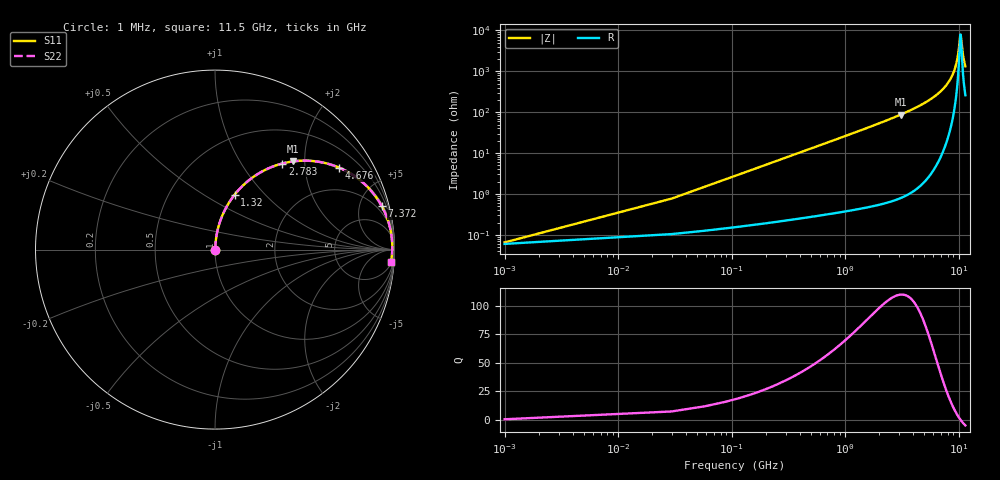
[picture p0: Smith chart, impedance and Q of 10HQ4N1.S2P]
! Coilcraft 1008HQ-4N1 Chip Inductor
! 10 July 2002
# MHZ S MA R 50
!Freq  MagS11  AngS11  MagS21  AngS21  MagS12  AngS12  MagS22  AngS22
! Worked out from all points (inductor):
!   402 points, 1 MHz to 11.5 GHz, reference 50 ohm
!   read as one part in series: L = 4.1 nH near 58.36 MHz
!   highest Q = 110 at 3.098 GHz (marker M1), where L = 4.5 nH
!   self-resonance near 10.41 GHz
!   S11 on the Smith chart (normalised r, x): 1 MHz: 1.00, +0.00; 1.32 GHz: 1.01, +0.69; 2.783 GHz: 1.01, +1.54; 4.676 GHz: 1.03, +3.02; 7.372 GHz: 1.23, +7.61; 11.5 GHz: 6, -26
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1  0.0006526 23.2  0.9994 -0.0  0.9994 -0.0  0.0006526 23.2
87.04  0.02243 85.1  0.9983 -1.3  0.9983 -1.3  0.02243 85.1
144.4  0.03716 85.3  0.9976 -2.1  0.9976 -2.1  0.03716 85.3
259.12  0.06654 84.4  0.9957 -3.8  0.9957 -3.8  0.06654 84.4
431.2  0.1103 82.3  0.9913 -6.3  0.9913 -6.3  0.1103 82.3
660.64  0.168 79.3  0.9828 -9.7  0.9828 -9.7  0.168 79.3
1320.28  0.3255 70.3  0.9415 -19.0  0.9415 -19.0  0.3255 70.3
1922.56  0.4544 62.4  0.8861 -27.0  0.8861 -27.0  0.4544 62.4
2782.96  0.6084 52.0  0.788 -37.5  0.788 -37.5  0.6084 52.0
3098.44  0.6559 48.5  0.7489 -41.0  0.7489 -41.0  0.6559 48.5
3844.12  0.7501 40.9  0.6542 -48.6  0.6542 -48.6  0.7501 40.9
4675.84  0.8294 33.3  0.5497 -56.0  0.5497 -56.0  0.8294 33.3
5765.68  0.901 24.9  0.4206 -64.3  0.4206 -64.3  0.901 24.9
7371.76  0.96 14.6  0.2523 -73.7  0.2523 -73.7  0.96 14.6
7687.24  0.967 12.8  0.2223 -75.1  0.2223 -75.1  0.967 12.8
8834.44  0.983 7.0  0.1215 -78.5  0.1215 -78.5  0.983 7.0
9608.8  0.9873 3.4  0.06034 -76.2  0.06034 -76.2  0.9873 3.4
9952.96  0.9879 1.9  0.03537 -69.1  0.03537 -69.1  0.9879 1.9
10325.8  0.9878 0.4  0.01377 -27.2  0.01377 -27.2  0.9878 0.4
10411.84  0.9876 0.0  0.01238 -1.2  0.01238 -1.2  0.9876 0.0
10956.76  0.9859 -2.1  0.03956 68.0  0.03956 68.0  0.9859 -2.1
11500  0.9828 -4.2  0.07404 74.5  0.07404 74.5  0.9828 -4.2
